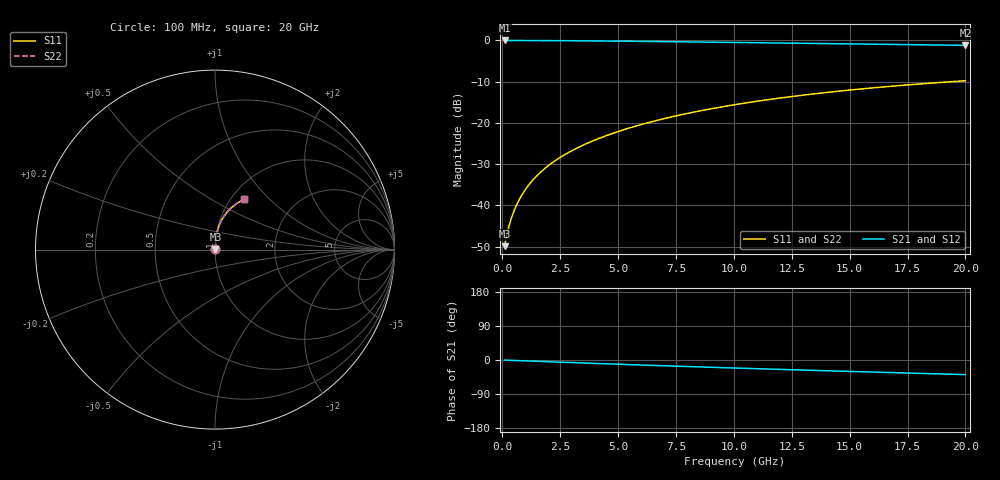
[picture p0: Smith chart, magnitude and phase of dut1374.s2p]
! Touchstone file exported from HFSS 2024.1.0
!  File:  C:/UserFiles/LocalFiles/RDL_TSV_Batchsim/temp_RDL_top_1374_1780367080.aedt
!  Generated:  10:26:47 AM Jun  2, 2026
!  Design:  RDL_top
!  Project:  temp_RDL_top_1374_1780367080
!  Setup:  Setup1
!  Solution:  Sweep
! Variables:
!  dtsv = 10.80580581um
!  hbump = 3um
!  htsv = 68.86um
!  ldown = 100um
!  lrdl = 576.89um
!  p = 40
!  p1 = 43.88um
!  rhole = 1um
!  t = 450um
!  tdown = 3.915915916um
!  trdl = 3.74um
!  wdown = 15.38538539um
!  wrdl = 21.7um
# GHz S MA R 50.000000
! Terminal data exported
! Port[1] = Box2_T1
! Port[2] = Box2_T2
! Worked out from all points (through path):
!   200 points, 100 MHz to 20 GHz, reference 50 ohm
!   highest |S21| = -0.02 dB at 100 MHz (marker M1); lowest = -1.2 dB at 20 GHz (marker M2)
!   group delay of S21, straight-line fit = 5.31 ps
!   lowest |S11| = -49.9 dB at 100 MHz (marker M3), VSWR 1.01, Z = 50.3 + j0.173 ohm
!   |S11| at or under -10 dB: start of sweep to 19.42 GHz
!   |S22| runs from -49.9 to -9.8 dB; largest |S21 - S12| = 4e-15
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0.1  0.003213 32.4  0.9973 -0.2  0.9973 -0.2  0.003213 32.4
! Gamma 0 0 0 0
! Port Impedance 50 0 50 0
0.2  0.004412 49.5  0.9971 -0.5  0.9971 -0.5  0.004412 49.5
0.3  0.005758 58.3  0.9969 -0.7  0.9969 -0.7  0.005758 58.3
0.4  0.007128 63.8  0.9967 -1.0  0.9967 -1.0  0.007128 63.8
0.5  0.008509 67.6  0.9965 -1.2  0.9965 -1.2  0.008509 67.6
0.6  0.009904 70.4  0.9964 -1.4  0.9964 -1.4  0.009904 70.4
0.8  0.01274 74.4  0.9961 -1.9  0.9961 -1.9  0.01274 74.4
1.1  0.01708 78.1  0.9955 -2.6  0.9955 -2.6  0.01708 78.1
1.3  0.02002 79.6  0.9951 -3.0  0.9951 -3.0  0.02002 79.6
1.6  0.02449 81.3  0.9944 -3.7  0.9944 -3.7  0.02449 81.3
2.1  0.03205 82.9  0.9929 -4.8  0.9929 -4.8  0.03205 82.9
2.7  0.04131 84.0  0.9906 -6.2  0.9906 -6.2  0.04131 84.0
3.5  0.05396 84.5  0.987 -8.0  0.987 -8.0  0.05395 84.5
4.2  0.0653 84.5  0.9832 -9.5  0.9832 -9.5  0.0653 84.5
5  0.07857 84.2  0.9785 -11.2  0.9785 -11.2  0.07857 84.1
6.8  0.1094 82.4  0.9666 -14.9  0.9666 -14.9  0.1094 82.4
8.4  0.1374 80.2  0.9552 -18.1  0.9552 -18.1  0.1374 80.2
10.1  0.1674 77.5  0.9428 -21.3  0.9428 -21.3  0.1673 77.4
11.7  0.1951 74.7  0.931 -24.3  0.931 -24.3  0.1951 74.6
13.4  0.2239 71.6  0.9185 -27.3  0.9185 -27.3  0.2239 71.6
16.7  0.2766 65.6  0.8943 -33.1  0.8943 -33.1  0.2765 65.6
20  0.3242 59.8  0.8703 -38.6  0.8703 -38.6  0.3242 59.8
